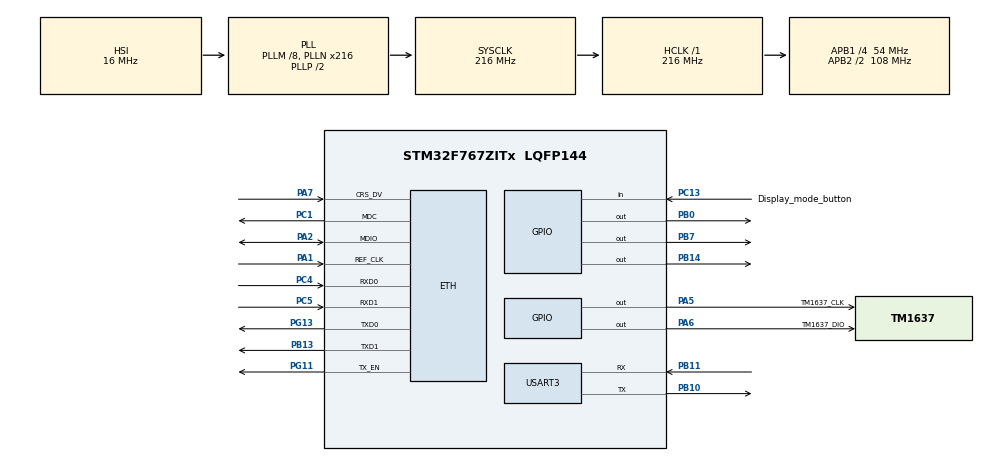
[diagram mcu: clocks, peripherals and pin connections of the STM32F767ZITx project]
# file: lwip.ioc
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ETH.MediaInterface=HAL_ETH_RMII_MODE
LWIP.BSP.number=1
LWIP.GATEWAY_ADDRESS=192.168.002.001
LWIP.IP_ADDRESS=192.168.002.024
LWIP.LWIP_DHCP=0
LWIP.LWIP_HTTPD=1
LWIP.LWIP_HTTPD_CGI=1
LWIP.LWIP_HTTPD_CGI_SSI=1
LWIP.LWIP_HTTPD_MAX_TAG_NAME_LEN=128
LWIP.LWIP_HTTPD_SSI=1
LWIP.NETMASK_ADDRESS=255.255.255.000
LWIP.Version=v2.1.2_Cube
LWIP0.BSP.STBoard=false
LWIP0.BSP.api=BSP_COMPONENT_DRIVER
LWIP0.BSP.component=LAN8742
LWIP0.BSP.instance=LAN8742
LWIP0.BSP.name=Driver_PHY
LWIP0.BSP.semaphore=S_LAN8742
LWIP0.BSP.solution=LAN8742
Mcu.Family=STM32F7
Mcu.Name=STM32F767ZITx
Mcu.Package=LQFP144
NVIC.PriorityGroup=NVIC_PRIORITYGROUP_4
PA1.Mode=RMII
PA1.Signal=ETH_REF_CLK
PA2.Mode=RMII
PA2.Signal=ETH_MDIO
PA5.GPIO_Label=TM1637_CLK
PA5.Signal=GPIO_Output
PA6.GPIO_Label=TM1637_DIO
PA6.Signal=GPIO_Output
PA7.Mode=RMII
PA7.Signal=ETH_CRS_DV
PB0.Signal=GPIO_Output
PB10.Mode=Asynchronous
PB10.Signal=USART3_TX
PB11.Mode=Asynchronous
PB11.Signal=USART3_RX
PB13.Mode=RMII
PB13.Signal=ETH_TXD1
PB14.Signal=GPIO_Output
PB7.Signal=GPIO_Output
PC1.Mode=RMII
PC1.Signal=ETH_MDC
PC13.GPIO_Label=Display_mode_button
PC13.Signal=GPIO_Input
PC4.Mode=RMII
PC4.Signal=ETH_RXD0
PC5.Mode=RMII
PC5.Signal=ETH_RXD1
PG11.Mode=RMII
PG11.Signal=ETH_TX_EN
PG13.Mode=RMII
PG13.Signal=ETH_TXD0
ProjectManager.HeapSize=0x200
ProjectManager.StackSize=0x400
ProjectManager.TargetToolchain=Makefile
RCC.AHBFreq_Value=216000000
RCC.APB1CLKDivider=RCC_HCLK_DIV4
RCC.APB1Freq_Value=54000000
RCC.APB1TimFreq_Value=108000000
RCC.APB2CLKDivider=RCC_HCLK_DIV2
RCC.APB2Freq_Value=108000000
RCC.APB2TimFreq_Value=216000000
RCC.CortexFreq_Value=216000000
RCC.HCLKFreq_Value=216000000
RCC.HSE_VALUE=25000000
RCC.HSI_VALUE=16000000
RCC.LSE_VALUE=32768
RCC.PLLM=8
RCC.PLLN=216
RCC.SYSCLKFreq_VALUE=216000000
RCC.SYSCLKSource=RCC_SYSCLKSOURCE_PLLCLK
RCC.USBFreq_Value=216000000
RCC.VCOOutputFreq_Value=432000000
USART3.VirtualMode-Asynchronous=VM_ASYNC
VP_LWIP_VS_Enabled.Mode=Enabled
board=custom

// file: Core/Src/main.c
/* USER CODE BEGIN Header */
/**
  ******************************************************************************
  * @file           : main.c
  * @brief          : Main program body
  ******************************************************************************
  * @attention
  *
  * Copyright (c) 2026 STMicroelectronics.
  * All rights reserved.
  *
  * This software is licensed under terms that can be found in the LICENSE file
  * in the root directory of this software component.
  * If no LICENSE file comes with this software, it is provided AS-IS.
  *
  ******************************************************************************
  */
/* USER CODE END Header */
#include "main.h"
#include "lwip.h"
#include "usart.h"
#include "gpio.h"

/* USER CODE BEGIN Includes */
#include "http_handlers.h"
#include "lwip/apps/httpd.h"
#include "cgi_handlers.h"
#include "ha_client.h"
#include "ha_parser.h"
#include "TM1637.h"
/* USER CODE END Includes */

/* USER CODE BEGIN PTD */
#define LWIP_HTTPD_CGI_EXTENSIONS "cgi"  // Только CGI файлы

//Цифровой дисплей TM1637
TM1637_HandleTypeDef htm1637;
/* USER CODE END PTD */

void SystemClock_Config(void);

/* USER CODE BEGIN 0 */
extern UART_HandleTypeDef huart3;  // Ваш UART handle

int __io_putchar(int ch)
{
    HAL_UART_Transmit(&huart3, (uint8_t *)&ch, 1, HAL_MAX_DELAY);
    return ch;
}

int _write(int file, char *ptr, int len)
{
    HAL_UART_Transmit(&huart3, (uint8_t *)ptr, len, HAL_MAX_DELAY);
    return len;
}
/* USER CODE END 0 */

int main(void)
{

  /* MCU Configuration--------------------------------------------------------*/

  /* Reset of all peripherals, Initializes the Flash interface and the Systick. */
  HAL_Init();

  /* Configure the system clock */
  SystemClock_Config();

  /* Initialize all configured peripherals */
  MX_GPIO_Init();
  MX_LWIP_Init();
  MX_USART3_UART_Init();
  /* USER CODE BEGIN 2 */
  TM1637_Init(&htm1637,
            TM1637_CLK_GPIO_Port, TM1637_CLK_Pin,
            TM1637_DIO_GPIO_Port, TM1637_DIO_Pin,
            D4036B);
  HA_Client_Init();
  http_handlers_init();
  httpd_init();
  http_set_cgi_handlers(cgi_handlers, cgi_handlers_count);
  /* USER CODE END 2 */

  /* Infinite loop */
  /* USER CODE BEGIN WHILE */
  uint32_t last_ha_update = 0;
  uint32_t last_print = 0;

  enum DISPLAY_STATES {
    OFF = 0,
    TEMPERATURE,
    LIGHT
  };
  int8_t display_state = OFF;

  void setDisplayModeLedIndicator(GPIO_PinState indicators[], int size) {
    int led_pins[] = {GPIO_PIN_0, GPIO_PIN_7, GPIO_PIN_14};

    for (int i = 0; i < size; i++) {
      HAL_GPIO_WritePin(GPIOB, led_pins[i], indicators[i]);
    }
  }
  while (1)
  {
    MX_LWIP_Process();
    if (HAL_GetTick() - last_ha_update >= 5000) {
        last_ha_update = HAL_GetTick();
        ssi_update_data();
    }

    if (HAL_GPIO_ReadPin(Display_mode_button_GPIO_Port, Display_mode_button_Pin)) {
      display_state = (display_state + 1) % 3;
    }

    //Варианты вывода дисплея
    switch(display_state) {
      case OFF:
        TM1637_ClearDisplay(&htm1637);
        setDisplayModeLedIndicator(   //Зеленый светодиод - дисплей ничего не показывает
          (GPIO_PinState[]){GPIO_PIN_SET, GPIO_PIN_RESET, GPIO_PIN_RESET}, 3);

        HAL_Delay(10);
        break;

      case TEMPERATURE:
        int16_t temp = getLastTemperature() / 10;
        TM1637_DisplayInt(&htm1637, temp);
        setDisplayModeLedIndicator(   //Красный - температура
          (GPIO_PinState[]){ GPIO_PIN_RESET, GPIO_PIN_RESET, GPIO_PIN_SET}, 3);

        HAL_Delay(10);
        break;

      case LIGHT:
        int32_t light = getLastLight();
        TM1637_DisplayInt(&htm1637, (int16_t)light);
        setDisplayModeLedIndicator(   //Красный - температура
          (GPIO_PinState[]){ GPIO_PIN_RESET, GPIO_PIN_SET, GPIO_PIN_RESET}, 3);

        HAL_Delay(10);
        break;
    }

    HAL_Delay(10);
    /* USER CODE END WHILE */

  }
}

void SystemClock_Config(void)
{
  RCC_OscInitTypeDef RCC_OscInitStruct = {0};
  RCC_ClkInitTypeDef RCC_ClkInitStruct = {0};

  /** Configure the main internal regulator output voltage
  */
  __HAL_RCC_PWR_CLK_ENABLE();
  __HAL_PWR_VOLTAGESCALING_CONFIG(PWR_REGULATOR_VOLTAGE_SCALE1);

  /** Initializes the RCC Oscillators according to the specified parameters
  * in the RCC_OscInitTypeDef structure.
  */
  RCC_OscInitStruct.OscillatorType = RCC_OSCILLATORTYPE_HSI;
  RCC_OscInitStruct.HSIState = RCC_HSI_ON;
  RCC_OscInitStruct.HSICalibrationValue = RCC_HSICALIBRATION_DEFAULT;
  RCC_OscInitStruct.PLL.PLLState = RCC_PLL_ON;
  RCC_OscInitStruct.PLL.PLLSource = RCC_PLLSOURCE_HSI;
  RCC_OscInitStruct.PLL.PLLM = 8;
  RCC_OscInitStruct.PLL.PLLN = 216;
  RCC_OscInitStruct.PLL.PLLP = RCC_PLLP_DIV2;
  RCC_OscInitStruct.PLL.PLLQ = 2;
  RCC_OscInitStruct.PLL.PLLR = 2;
  if (HAL_RCC_OscConfig(&RCC_OscInitStruct) != HAL_OK)
  {
    Error_Handler();
  }

  /** Activate the Over-Drive mode
  */
  if (HAL_PWREx_EnableOverDrive() != HAL_OK)
  {
    Error_Handler();
  }

  /** Initializes the CPU, AHB and APB buses clocks
  */
  RCC_ClkInitStruct.ClockType = RCC_CLOCKTYPE_HCLK|RCC_CLOCKTYPE_SYSCLK
                              |RCC_CLOCKTYPE_PCLK1|RCC_CLOCKTYPE_PCLK2;
  RCC_ClkInitStruct.SYSCLKSource = RCC_SYSCLKSOURCE_PLLCLK;
  RCC_ClkInitStruct.AHBCLKDivider = RCC_SYSCLK_DIV1;
  RCC_ClkInitStruct.APB1CLKDivider = RCC_HCLK_DIV4;
  RCC_ClkInitStruct.APB2CLKDivider = RCC_HCLK_DIV2;

  if (HAL_RCC_ClockConfig(&RCC_ClkInitStruct, FLASH_LATENCY_7) != HAL_OK)
  {
    Error_Handler();
  }
}

void Error_Handler(void)
{
  __disable_irq();
  while (1)
  {
  }
}
